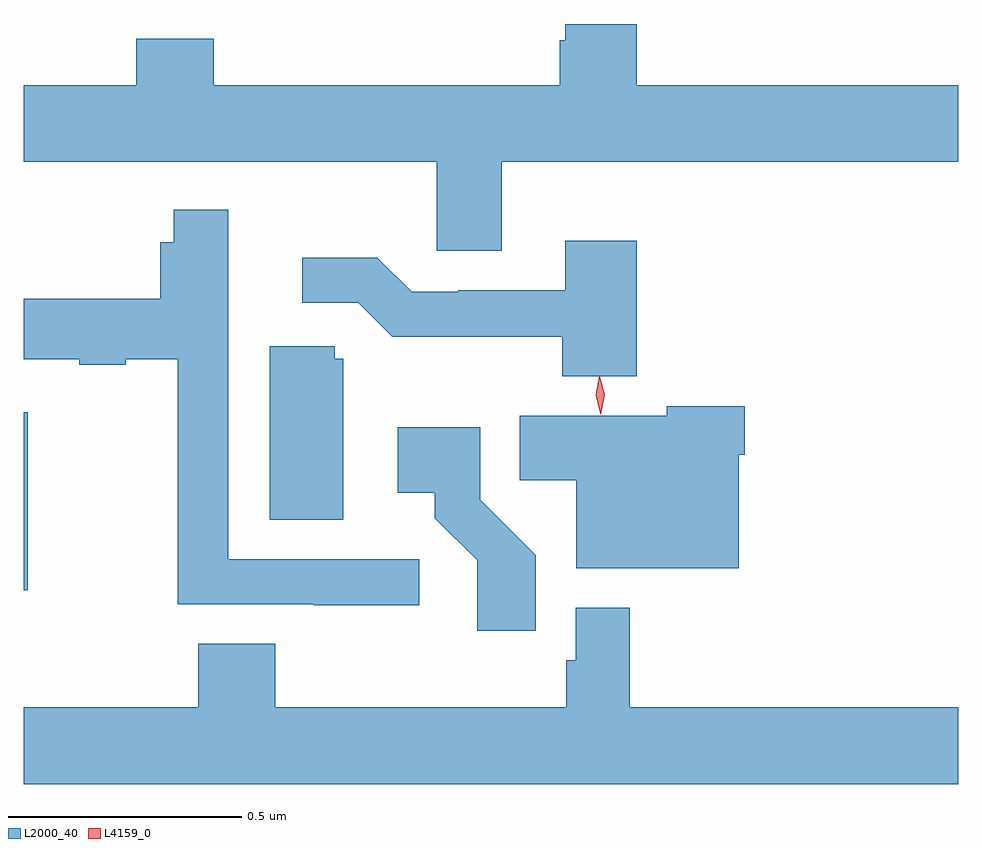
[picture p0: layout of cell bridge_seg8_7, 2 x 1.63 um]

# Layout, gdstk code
import gdstk
lib = gdstk.Library(unit=1e-6, precision=1e-09)
def R(c, l, rs):  # rectangles x0, y0, x1, y1
    for r in rs: c.add(gdstk.rectangle(r[:2], r[2:], *l))
def P(c, l, *ps):  # polygons
    for p in ps: c.add(gdstk.Polygon(p, *l))
L2000_40 = (2000, 40)
L4159_0 = (4159, 0)

bridge_seg8_7 = lib.new_cell('bridge_seg8_7')
R(bridge_seg8_7, L2000_40, [(987.79,1158.207,987.798,1158.588)])
P(bridge_seg8_7, L2000_40, [(988.949,1159.419),(988.949,1159.384),(988.937,1159.384),(988.937,1159.288),(988.196,1159.288),(988.196,1159.387),(988.031,1159.387),(988.031,1159.288),(987.79,1159.288),(987.79,1159.124),(988.674,1159.124),(988.674,1158.934),(988.813,1158.934),(988.813,1159.124),(989.79,1159.124),(989.79,1159.288),(989.102,1159.288),(989.102,1159.419)],
  [(988.636,1158.273),(988.227,1158.273),(988.227,1159.021),(988.111,1159.021),(988.111,1158.952),(988.082,1158.952),(988.082,1158.831),(987.79,1158.831),(987.79,1158.701),(987.908,1158.701),(987.908,1158.689),(988.008,1158.689),(988.008,1158.701),(988.119,1158.701),(988.119,1158.177),(988.411,1158.177),(988.411,1158.175),(988.636,1158.175)],
  [(989.102,1158.955),(988.949,1158.955),(988.949,1158.849),(988.72,1158.849),(988.72,1158.846),(988.62,1158.846),(988.547,1158.919),(988.386,1158.919),(988.386,1158.822),(988.506,1158.822),(988.579,1158.749),(988.678,1158.749),(988.678,1158.75),(988.942,1158.75),(988.942,1158.665),(989.102,1158.665)],
  [(988.474,1158.702),(988.455,1158.702),(988.455,1158.729),(988.316,1158.729),(988.316,1158.358),(988.474,1158.358)],
  [(989.32,1158.497),(989.333,1158.497),(989.333,1158.601),(989.166,1158.601),(989.166,1158.58),(988.852,1158.58),(988.852,1158.442),(988.973,1158.442),(988.973,1158.254),(989.32,1158.254)],
  [(988.886,1158.282),(988.767,1158.401),(988.767,1158.556),(988.59,1158.556),(988.59,1158.416),(988.67,1158.416),(988.67,1158.361),(988.761,1158.271),(988.761,1158.12),(988.886,1158.12)],
  [(989.79,1157.956),(989.087,1157.956),(989.087,1158.169),(988.971,1158.169),(988.971,1158.057),(988.951,1158.057),(988.951,1157.956),(988.328,1157.956),(988.328,1158.092),(988.163,1158.092),(988.163,1157.956),(987.79,1157.956),(987.79,1157.792),(989.79,1157.792)])
P(bridge_seg8_7, L4159_0, [(989.025,1158.583),(989.025,1158.583),(989.014,1158.624),(989.022,1158.665),(989.023,1158.666),(989.023,1158.665),(989.034,1158.625),(989.025,1158.583)])

lib.write_gds('bridge_seg8_7.gds')
